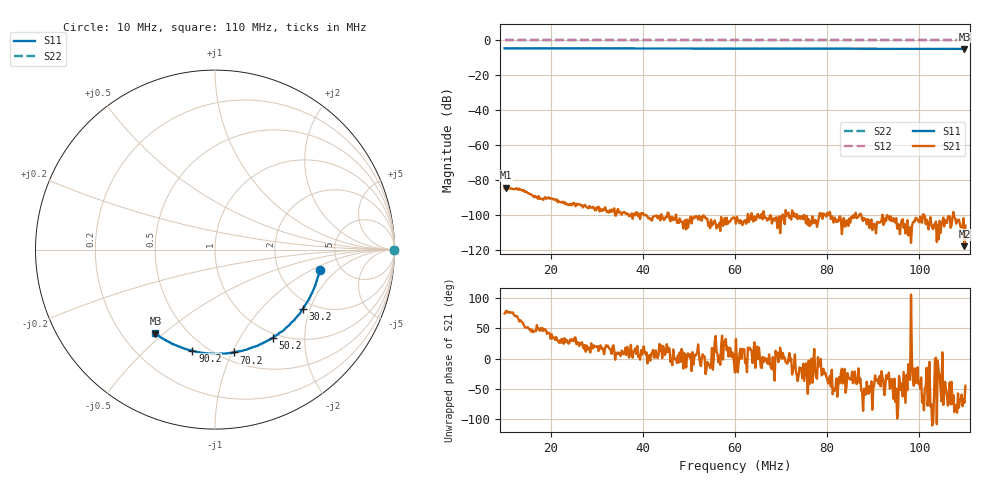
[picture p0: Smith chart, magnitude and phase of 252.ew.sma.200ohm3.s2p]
! Anritsu VNA Master:  Model: MS2036C/10/77
! SN:  1601066
! /card0/usr/200ohm3.s2p
! Existing Calibration Information:
! TYPE:  Current Settings,  Active Cal Settings
! TIME:  12/20/2017 04:16:23 PM,  12/20/2017 04:05:21 PM
! INTERNAL TEMP:  42.0 C,  43.3 C
! # POINTS:  501,  501
! START FREQ:  10.000 MHz,  10.000 MHz
! STOP FREQ:  110.000 MHz,  110.000 MHz
! SOURCE POWER:  High,  High
! IFBW:  100 Hz,  100 Hz
! AVG FACTOR:  1 ,  1
! REF PLANE 1:  0 mm,  0 mm
! REF PLANE 2:  0 mm,  0 mm
! CAL TYPE:  Full S11,  Full S11
! CAL METHOD:  SOLT,  SOLT
! CAL LINE TYPE:  Coax,  Coax
! DUT PORT 1:  K-Conn(F),  K-Conn(F)
! DUT PORT 2:  K-Conn(F),  K-Conn(F)
! CAL STATUS:  OK: Accuracy High,  --
# GHZ S DB R 50.0
! FREQ.GHZ  S11DB  S11A  S21DB  S21A  S12DB  S12A  S22DB  S22A
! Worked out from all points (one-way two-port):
!   501 points, 10 MHz to 110 MHz, reference 50 ohm
!   highest |S21| = -84.31 dB at 10.2 MHz (marker M1); lowest = -117.9 dB at 109.8 MHz (marker M2)
!   lowest |S11| = -4.8 dB at 109.8 MHz (marker M3), VSWR 3.69, Z = 16.9 - j23.5 ohm
!   |S11| at or under -10 dB: nowhere
!   |S22| runs from 0.0 to 0.0 dB; largest |S21 - S12| = 1
!   S11 on the Smith chart (normalised r, x): 10 MHz: 3.46, -1.23; 30.2 MHz: 1.77, -1.78; 50.2 MHz: 0.94, -1.40; 70.2 MHz: 0.59, -1.02; 90.2 MHz: 0.42, -0.71; 110 MHz: 0.34, -0.47
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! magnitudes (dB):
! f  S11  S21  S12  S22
! 10 MHz  -4.5  -84.8  0.0  0.0
! 10.2 MHz  -4.5  -84.3  0.0  0.0
! 26.8 MHz  -4.6  -94.5  0.0  0.0
! 30.2 MHz  -4.6  -96.3  0.0  0.0
! 33 MHz  -4.6  -98.3  0.0  0.0
! 35.4 MHz  -4.6  -99.9  0.0  0.0
! 37.2 MHz  -4.6  -100.3  0.0  0.0
! 38.8 MHz  -4.6  -98.7  0.0  0.0
! 40.6 MHz  -4.6  -99.9  0.0  0.0
! 43.4 MHz  -4.6  -100.7  0.0  0.0
! 44.4 MHz  -4.6  -101.6  0.0  0.0
! 46 MHz  -4.6  -103.6  0.0  0.0
! 50.2 MHz  -4.6  -102.5  0.0  0.0
! 51.6 MHz  -4.6  -100.7  0.0  0.0
! 60 MHz  -4.7  -102.0  0.0  0.0
! 70.2 MHz  -4.7  -100.3  0.0  0.0
! 76.8 MHz  -4.7  -100.8  0.0  0.0
! 85.2 MHz  -4.7  -101.2  0.0  0.0
! 90.2 MHz  -4.8  -105.0  0.0  0.0
! 93.4 MHz  -4.8  -101.4  0.0  0.0
! 109.8 MHz  -4.8  -117.9  0.0  0.0
! 110 MHz  -4.8  -106.1  0.0  0.0
